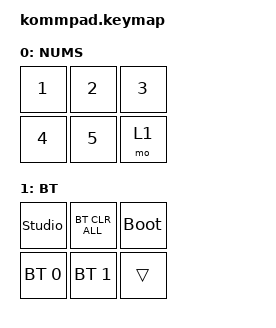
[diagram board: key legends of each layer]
#include <behaviors.dtsi>
#include <dt-bindings/zmk/bt.h>
#include <dt-bindings/zmk/keys.h>

/ {
    keymap {
        compatible = "zmk,keymap";

        NUMS {
            bindings = <
&kp N1  &kp N2  &kp N3
&kp N4  &kp N5  &mo 1
            >;
        };

        BT {
            bindings = <
&studio_unlock  &bt BT_CLR_ALL  &bootloader
&bt BT_SEL 0    &bt BT_SEL 1    &trans
            >;
        };
    };
};
